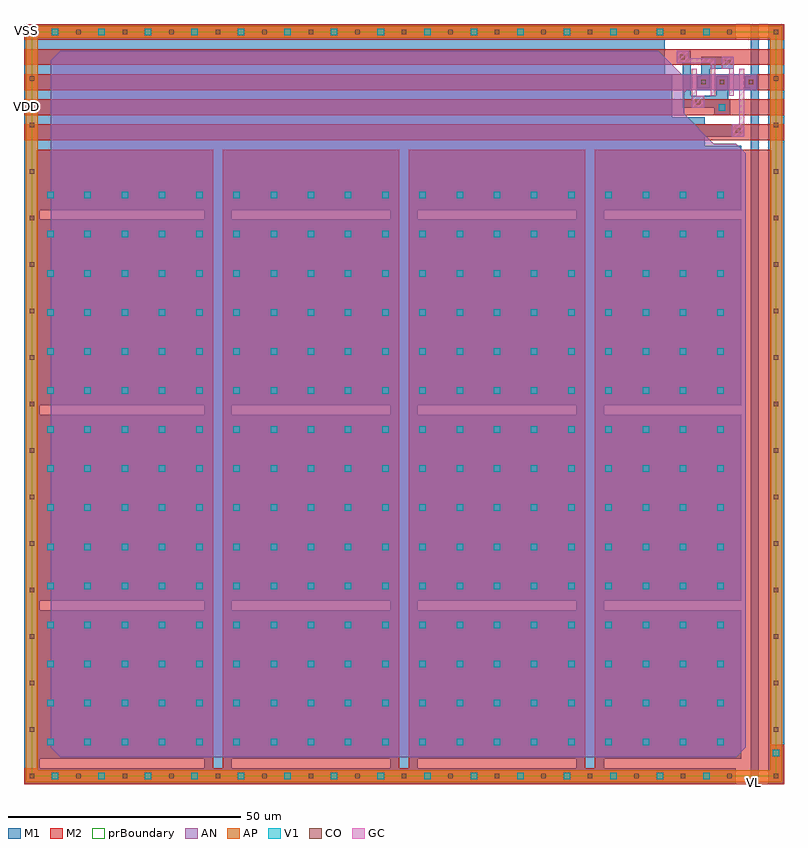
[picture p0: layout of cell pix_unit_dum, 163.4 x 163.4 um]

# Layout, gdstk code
import gdstk
lib = gdstk.Library(unit=1e-6, precision=1e-07)
def R(c, l, rs):  # rectangles x0, y0, x1, y1
    for r in rs: c.add(gdstk.rectangle(r[:2], r[2:], *l))
def A(c, l, x, y, w, h, nx, ny, dx, dy):  # array of equal rectangles
    R(c, l, [(x+i*dx, y+j*dy, x+i*dx+w, y+j*dy+h) for i in range(nx) for j in range(ny)])
def P(c, l, *ps):  # polygons
    for p in ps: c.add(gdstk.Polygon(p, *l))
AP = (3, 1)
AN = (3, 2)
GC = (8, 1)
CO = (11, 0)
M1 = (13, 0)
V1 = (19, 0)
M2 = (20, 0)
prBoundary = (235, 0)

fet_n_2 = lib.new_cell('fet_n$2')
R(fet_n_2, AN, [(-3.3,-1.7,3.3,1.7)])
R(fet_n_2, CO, [(-2.5,-0.5,-1.5,0.5), (1.5,-0.5,2.5,0.5)])
R(fet_n_2, M1, [(-3.3,-1.3,-0.7,1.3), (0.7,-1.3,3.3,1.3)])
fet_n_2.add(gdstk.FlexPath([(0,-2.9),(0,2.9)], 1, ends="flush", simple_path=True, layer=8, datatype=1))  # GC

fet_n_1 = lib.new_cell('fet_n$1')
R(fet_n_1, AN, [(-4.4,-1.7,4.4,1.7)])
R(fet_n_1, CO, [(-3.6,-0.5,-2.6,0.5), (2.6,-0.5,3.6,0.5)])
R(fet_n_1, M1, [(-4.4,-1.3,-1.8,1.3), (1.8,-1.3,4.4,1.3)])
fet_n_1.add(gdstk.FlexPath([(1.1,-2.9),(1.1,2.9)], 1, ends="flush", simple_path=True, layer=8, datatype=1))  # GC
fet_n_1.add(gdstk.FlexPath([(-1.1,-2.9),(-1.1,2.9)], 1, ends="flush", simple_path=True, layer=8, datatype=1))  # GC

cont_g = lib.new_cell('cont_g')
R(cont_g, GC, [(-1.3,-1.3,1.3,1.3)])
R(cont_g, CO, [(-0.5,-0.5,0.5,0.5)])
R(cont_g, M1, [(-1.3,-1.3,1.3,1.3)])

cont_p = lib.new_cell('cont_p')
R(cont_p, AP, [(-1.3,-1.3,1.3,1.3)])
R(cont_p, CO, [(-0.5,-0.5,0.5,0.5)])
R(cont_p, M1, [(-1.3,-1.3,1.3,1.3)])

via_1 = lib.new_cell('via_1')
R(via_1, M1, [(-1.7,-1.7,1.7,1.7)])
R(via_1, V1, [(-0.7,-0.7,0.7,0.7)])
R(via_1, M2, [(-1.7,-1.7,1.7,1.7)])

pix_unit_dum = lib.new_cell('pix_unit_dum')
P(pix_unit_dum, AP, [(-81.3,-81.3),(-81.3,78.7),(-78.7,78.7),(-78.7,-78.7),(78.7,-78.7),(78.7,78.7),(-81.3,78.7),(-81.3,81.3),(81.3,81.3),(81.3,-81.3)])
P(pix_unit_dum, AN, [(-73.9,-75.9),(-75.9,-73.9),(-75.9,73.9),(-73.9,75.9),(54.7,75.9),(59.7,70.9),(63.1,70.9),(63.1,67.5),(60.8,67.5),(60.2,66.9),(60.2,62.4),(66.6,56),(71.4,56),(73.5,53.9),(73.5,-73.8),(71.4,-75.9)])
R(pix_unit_dum, GC, [(72.1,60.1,73.1,66.3), (61.9,63.7,62.9,72.1)])
P(pix_unit_dum, GC, [(65.9,72.1),(65.9,73.3),(61.2,73.3),(61.2,74.3),(66.9,74.3),(66.9,72.1)])
A(pix_unit_dum, M1, -43, -78.3, 6, 120, 3, 1, 40, 0)
R(pix_unit_dum, M1, [(74.5,-81.7,76.3,81.7), (78.3,-81.7,81.7,81.7), (-78.3,-76.3,72.5,-44.3), (-78.3,-42.3,72.5,-2.3), (-78.3,-0.3,72.5,39.7), (64.7,57.5,70.5,60.1), (67.1,65.5,69.7,67.9)])
P(pix_unit_dum, M1, [(-78.3,41.7),(-78.3,78.3),(56.1,78.3),(56.1,70.9),(57.7,70.9),(57.7,61.7),(64.7,61.7),(64.7,55.5),(72.5,55.5),(72.5,41.7)],
  [(-81.7,-81.7),(-81.7,81.7),(71.3,81.7),(71.3,78.3),(-78.3,78.3),(-78.3,-78.3),(71.3,-78.3),(71.3,-81.7)],
  [(59.9,63.7),(59.9,75.9),(61.7,75.9),(61.7,66.3),(67.1,66.3),(67.1,63.7)],
  [(63.9,70.5),(63.9,74.7),(68.3,74.7),(68.3,72.1),(65.7,72.1),(65.7,70.5)])
A(pix_unit_dum, M2, -79, -81.7, 38, 136.4, 4, 1, 40, 0)
A(pix_unit_dum, M2, -81.7, 56.7, 163.4, 3.4, 1, 5, 0, 5.4)
P(pix_unit_dum, M2, [(-81.7,-81.7),(-81.7,-78.3),(78.3,-78.3),(78.3,-73.3),(81.7,-73.3),(81.7,-81.7)])
R(pix_unit_dum, prBoundary, [(-80,-80,80,80)])
pix_unit_dum.add(gdstk.Reference(fet_n_2, (66.4,69.2)))
pix_unit_dum.add(gdstk.Reference(fet_n_1, (71.5,69.2)))
pix_unit_dum.add(gdstk.Reference(cont_g, (69.6,73.4)))
pix_unit_dum.add(gdstk.Reference(cont_g, (71.8,58.8)))
r = gdstk.Reference(cont_p, (-80,-80)); r.repetition = gdstk.Repetition(17, 2, v1=(10,0), v2=(0,160)); pix_unit_dum.add(r)
r = gdstk.Reference(cont_p, (-80,-70)); r.repetition = gdstk.Repetition(2, 15, v1=(160,0), v2=(0,10)); pix_unit_dum.add(r)
pix_unit_dum.add(gdstk.Reference(via_1, (68.4,63.8)))
pix_unit_dum.add(gdstk.Reference(cont_g, (63.2,65)))
pix_unit_dum.add(gdstk.Reference(cont_g, (59.9,74.6)))
r = gdstk.Reference(via_1, (-75,-80)); r.repetition = gdstk.Repetition(15, 2, v1=(10,0), v2=(0,160)); pix_unit_dum.add(r)
pix_unit_dum.add(gdstk.Reference(via_1, (80,-75)))
r = gdstk.Reference(via_1, (-76,-72.7)); r.repetition = gdstk.Repetition(19, 15, v1=(8,0), v2=(0,8.4)); pix_unit_dum.add(r)
pix_unit_dum.add(gdstk.Label('VDD', (-81.2,64), layer=49, texttype=0))
pix_unit_dum.add(gdstk.Label('VSS', (-81.2,80.2), layer=49, texttype=0))
pix_unit_dum.add(gdstk.Label('VL', (75.4,-81.3), layer=48, texttype=0))

lib.write_gds('pix_unit_dum.gds')
